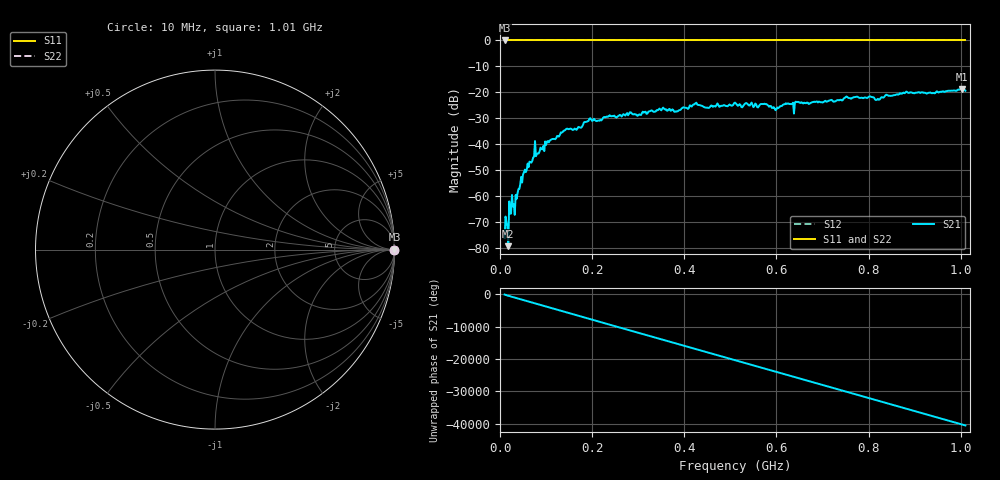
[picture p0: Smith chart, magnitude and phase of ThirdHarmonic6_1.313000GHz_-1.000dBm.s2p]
! 8/16/2025 2:32:39 PM
! C:\ANRITSUVNA\TEMP\TEMP.S2P
! CHANNEL.1
! TR.MEASUREMENT
! RAW.DATA
! RF.CORRECTION.OFF
! AVERAGING.OFF
! IF.BANDWIDTH: 5KHZ
! SWEEPTYPE:  FREQ.SWEEP(Linear)
! Reference Plane Port Info
! PORT:  PORT1  PORT2
! DISTANCE:  0  m  0  m
! TIME:  0  s  0  s
! PHASE.OFFSET:  0  deg.  0  deg.
! LOSS:  0  dB  0  dB
! REF.LOSS:  0  dB  0  dB
! REF.FREQ:  0  Hz  0  Hz
! Power Info
! POWER:  -20  dBm  -20  dBm
! EFF.POWER:  -20  dBm  -20  dBm
! SOURCE.ATTEN:  0  dB  0  dB
! TEST.ATTEN:  0  dB  0  dB
# GHZ S RI R 50.0
! FREQ.GHZ  S11RE  S11IM  S21RE  S21IM  S12RE  S12IM  S22RE  S22IM
!; PortSelection: Port_12
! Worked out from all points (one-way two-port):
!   501 points, 10 MHz to 1.01 GHz, reference 50 ohm
!   highest |S21| = -18.70 dB at 1.002 GHz (marker M1); lowest = -79.4 dB at 18 MHz (marker M2)
!   lowest |S11| = 0.0 dB at 10 MHz (marker M3)
!   |S11| at or under -10 dB: nowhere
!   |S22| runs from 0.0 to 0.0 dB; largest |S21 - S12| = 1.1
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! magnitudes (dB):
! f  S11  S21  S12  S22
! 10 MHz  0.0  -76.3  0.0  0.0
! 14 MHz  0.0  -70.3  0.0  0.0
! 16 MHz  0.0  -71.7  0.0  0.0
! 18 MHz  0.0  -79.4  0.0  0.0
! 20 MHz  0.0  -62.2  0.0  0.0
! 24 MHz  0.0  -66.8  0.0  0.0
! 32 MHz  0.0  -67.3  0.0  0.0
! 50 MHz  0.0  -51.7  0.0  0.0
! 76 MHz  0.0  -38.8  0.0  0.0
! 142 MHz  0.0  -34.5  0.0  0.0
! 178 MHz  0.0  -33.3  0.0  0.0
! 194 MHz  0.0  -30.2  0.0  0.0
! 344 MHz  0.0  -26.7  0.0  0.0
! 382 MHz  0.0  -27.3  0.0  0.0
! 424 MHz  0.0  -24.3  0.0  0.0
! 510 MHz  0.0  -24.0  0.0  0.0
! 574 MHz  0.0  -24.4  0.0  0.0
! 600 MHz  0.0  -26.5  0.0  0.0
! 678 MHz  0.0  -23.8  0.0  0.0
! 844 MHz  0.0  -21.4  0.0  0.0
! 1.002 GHz  0.0  -18.7  0.0  0.0
! 1.01 GHz  0.0  -19.4  0.0  0.0
